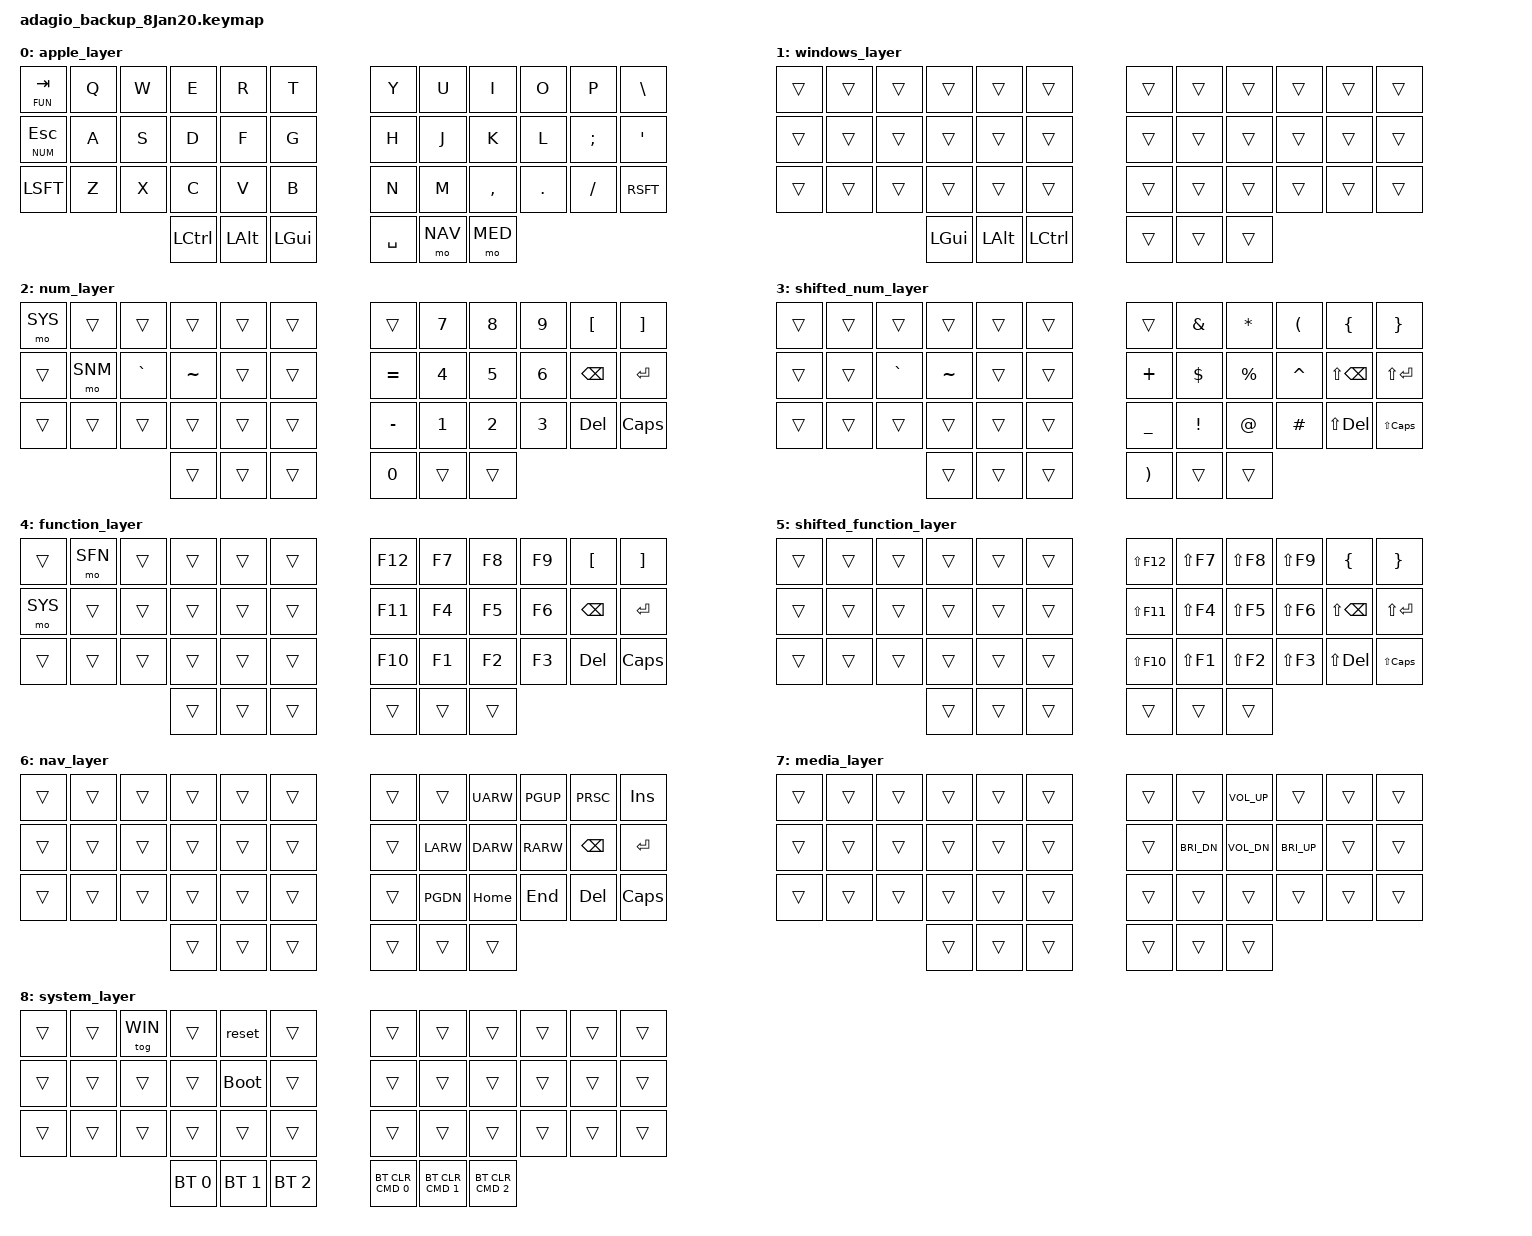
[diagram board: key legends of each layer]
/*
 * Copyright (c) 2020 The ZMK Contributors
 *
 * SPDX-License-Identifier: MIT
 */

#include <behaviors.dtsi>
#include <dt-bindings/zmk/bt.h>
#include <dt-bindings/zmk/keys.h>

#define APL 0
#define WIN 1
#define NUM 2
#define SNM 3
#define FUN 4
#define SFN 5
#define NAV 6
#define MED 7
#define SYS 8

/ {

    behaviors {
        hlt: hold_preferred_layer_tap {
			compatible = "zmk,behavior-hold-tap";
			label = "HOLD_PREFERRED_LAYER_TAP";
			#binding-cells = <2>;
			flavor = "hold-preferred";
			tapping_term_ms = <200>;
			bindings = <&mo>, <&kp>;
		};
    };
    
    keymap {
        compatible = "zmk,keymap";
        apple_layer {
            bindings = <
    &hlt FUN TAB &kp Q  &kp W     &kp E     &kp R     &kp T     /**/  &kp Y     &kp U     &kp I     &kp O    &kp P     &kp BSLH
    &hlt NUM ESC &kp A  &kp S     &kp D     &kp F     &kp G     /**/  &kp H     &kp J     &kp K     &kp L    &kp SCLN  &kp QUOT
    &kp LSFT     &kp Z  &kp X     &kp C     &kp V     &kp B     /**/  &kp N     &kp M     &kp CMMA  &kp DOT  &kp FSLH  &kp RSFT
                                  &kp LCTL  &kp LALT  &kp LGUI  /**/  &kp SPC   &mo NAV   &mo MED
            >;
        };

        windows_layer {
            bindings = <
    &trans    &trans    &trans    &trans    &trans    &trans    /**/  &trans    &trans    &trans    &trans    &trans    &trans
    &trans    &trans    &trans    &trans    &trans    &trans    /**/  &trans    &trans    &trans    &trans    &trans    &trans
    &trans    &trans    &trans    &trans    &trans    &trans    /**/  &trans    &trans    &trans    &trans    &trans    &trans
                                  &kp LGUI  &kp LALT  &kp LCTL  /**/  &trans    &trans    &trans
            >;
        };

        num_layer {
            bindings = <
    &mo SYS   &trans    &trans    &trans    &trans    &trans    /**/  &trans    &kp NUM_7 &kp NUM_8 &kp NUM_9 &kp LBKT  &kp RBKT
    &trans    &mo SNM   &kp GRAV  &kp TILDE &trans    &trans    /**/  &kp EQL   &kp NUM_4 &kp NUM_5 &kp NUM_6 &kp BKSP  &kp RET
    &trans    &trans    &trans    &trans    &trans    &trans    /**/  &kp MINUS &kp NUM_1 &kp NUM_2 &kp NUM_3 &kp DEL   &kp CLCK
                                  &trans    &trans    &trans    /**/  &kp NUM_0 &trans    &trans
            >;
        };

        shifted_num_layer {
            bindings = <
    &trans    &trans    &trans    &trans    &trans    &trans    /**/  &trans    &kp AMPS  &kp STAR  &kp LPAR  &kp LBRC     &kp RBRC
    &trans    &trans    &kp GRAV  &kp TILDE &trans    &trans    /**/  &kp PLUS  &kp DLLR  &kp PRCNT &kp CARET &kp LS(BKSP) &kp LS(RET)
    &trans    &trans    &trans    &trans    &trans    &trans    /**/  &kp UNDER &kp EXCL  &kp AT    &kp HASH  &kp LS(DEL)  &kp LS(CLCK)
                                  &trans    &trans    &trans    /**/  &kp RPAR  &trans    &trans
            >;
        };

        function_layer {
            bindings = <
    &trans    &mo SFN   &trans    &trans    &trans    &trans    /**/  &kp F12   &kp F7    &kp F8    &kp F9    &kp LBKT  &kp RBKT
    &mo SYS   &trans    &trans    &trans    &trans    &trans    /**/  &kp F11   &kp F4    &kp F5    &kp F6    &kp BKSP  &kp RET
    &trans    &trans    &trans    &trans    &trans    &trans    /**/  &kp F10   &kp F1    &kp F2    &kp F3    &kp DEL   &kp CLCK
                                  &trans    &trans    &trans    /**/  &trans    &trans    &trans
            >;
        };

        shifted_function_layer {
            bindings = <
    &trans    &trans    &trans    &trans    &trans    &trans    /**/  &kp LS(F12) &kp LS(F7) &kp LS(F8) &kp LS(F9) &kp LBRC     &kp RBRC
    &trans    &trans    &trans    &trans    &trans    &trans    /**/  &kp LS(F11) &kp LS(F4) &kp LS(F5) &kp LS(F6) &kp LS(BKSP) &kp LS(RET)
    &trans    &trans    &trans    &trans    &trans    &trans    /**/  &kp LS(F10) &kp LS(F1) &kp LS(F2) &kp LS(F3) &kp LS(DEL)  &kp LS(CLCK)
                                  &trans    &trans    &trans    /**/  &trans    &trans    &trans
            >;
        };

        nav_layer {
            bindings = <
    &trans    &trans    &trans    &trans    &trans    &trans    /**/  &trans    &trans    &kp UARW  &kp PGUP  &kp PRSC  &kp INS
    &trans    &trans    &trans    &trans    &trans    &trans    /**/  &trans    &kp LARW  &kp DARW  &kp RARW  &kp BKSP  &kp RET
    &trans    &trans    &trans    &trans    &trans    &trans    /**/  &trans    &kp PGDN  &kp HOME  &kp END   &kp DEL   &kp CLCK
                                  &trans    &trans    &trans    /**/  &trans    &trans    &trans
            >;
        };

        media_layer {
            bindings = <
    &trans    &trans    &trans    &trans    &trans    &trans    /**/  &trans    &trans    &kp C_VOL_UP &trans       &trans  &trans
    &trans    &trans    &trans    &trans    &trans    &trans    /**/  &trans &kp C_BRI_DN &kp C_VOL_DN &kp C_BRI_UP &trans  &trans
    &trans    &trans    &trans    &trans    &trans    &trans    /**/  &trans    &trans    &trans       &trans       &trans  &trans
                                  &trans    &trans    &trans    /**/  &trans    &trans    &trans
            >;
        };

        system_layer {
            bindings = <
    &trans    &trans    &tog WIN  &trans    &reset    &trans    /**/ &trans    &trans    &trans    &trans    &trans    &trans
    &trans    &trans    &trans    &trans  &bootloader &trans    /**/ &trans    &trans    &trans    &trans    &trans    &trans
    &trans    &trans    &trans    &trans    &trans    &trans    /**/ &trans    &trans    &trans    &trans    &trans    &trans
                   &bt BT_SEL 0   &bt BT_SEL 1   &bt BT_SEL 2   /**/ &bt BT_CLR_CMD 0   &bt BT_CLR_CMD 1   &bt BT_CLR_CMD 2
            >;
        };
        
    };
};
